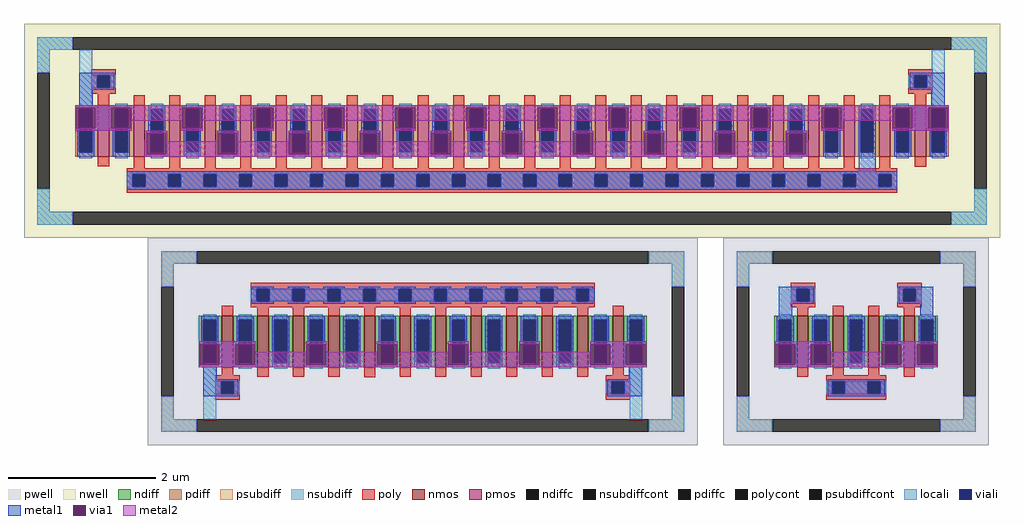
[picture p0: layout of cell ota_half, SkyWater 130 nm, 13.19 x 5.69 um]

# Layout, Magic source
magic
tech sky130A
magscale 1 2
use o_n_2  sky130_fd_pr__nfet_01v8_2AA63J_0
transform 1 0 2196 0 1 -333
box -359 -280 359 280
use o_n_3  sky130_fd_pr__nfet_01v8_CCWHWC_0
transform 1 0 1025 0 1 -333
box -743 -280 743 280
use o_p_1  sky130_fd_pr__pfet_01v8_BDSGKN_0
transform 1 0 1266 0 1 236
box -1319 -289 1319 289
<< end >>

# cell o_n_2: kit device sky130_fd_pr__nfet_01v8, w 0.7 l 0.150 m 1 nf 4 diffcov 100 polycov 100 guard 1 glc 1 grc 1 gtc 1 gbc 1 tbcov 100 rlcov 100 topc 1 botc 1 poverlap 0 doverlap 1 lmin 0.15 wmin 0.42 compatible {sky130_fd_pr__nfet_01v8 sky130_fd_pr__nfet_01v8_lvt sky130_fd_bs_flash__special_sonosfet_star sky130_fd_pr__nfet_g5v0d10v5 sky130_fd_pr__nfet_05v0_nvt sky130_fd_pr__nfet_03v3_nvt} full_metal 1 viasrc 100 viadrn 100 viagate 100 viagb 0 viagr 0 viagl 0 viagt 0

# cell o_n_3: kit device sky130_fd_pr__nfet_01v8, w 0.7 l 0.150 m 1 nf 12 diffcov 100 polycov 100 guard 1 glc 1 grc 1 gtc 1 gbc 1 tbcov 100 rlcov 100 topc 1 botc 1 poverlap 0 doverlap 1 lmin 0.15 wmin 0.42 compatible {sky130_fd_pr__nfet_01v8 sky130_fd_pr__nfet_01v8_lvt sky130_fd_bs_flash__special_sonosfet_star sky130_fd_pr__nfet_g5v0d10v5 sky130_fd_pr__nfet_05v0_nvt sky130_fd_pr__nfet_03v3_nvt} full_metal 1 viasrc 100 viadrn 100 viagate 100 viagb 0 viagr 0 viagl 0 viagt 0

# cell o_p_1: kit device sky130_fd_pr__pfet_01v8, w 0.7 l 0.15 m 1 nf 24 diffcov 100 polycov 100 guard 1 glc 1 grc 1 gtc 1 gbc 1 tbcov 100 rlcov 100 topc 1 botc 1 poverlap 0 doverlap 1 lmin 0.15 wmin 0.42 compatible {sky130_fd_pr__pfet_01v8 sky130_fd_pr__pfet_01v8_lvt sky130_fd_pr__pfet_01v8_hvt sky130_fd_pr__pfet_g5v0d10v5} full_metal 1 viasrc 100 viadrn 100 viagate 100 viagb 0 viagr 0 viagl 0 viagt 0
